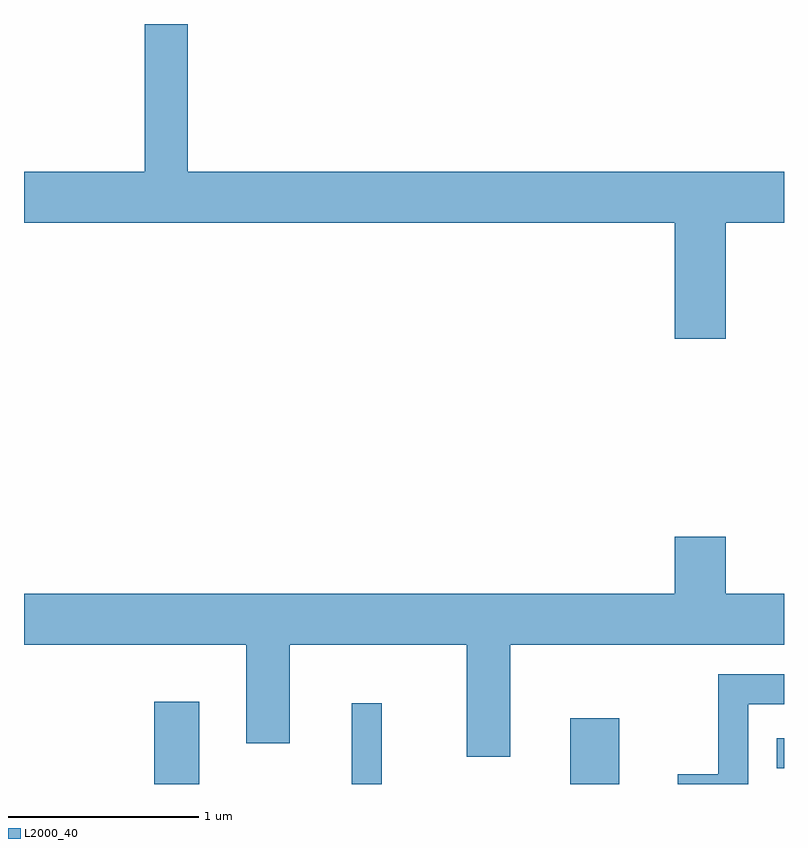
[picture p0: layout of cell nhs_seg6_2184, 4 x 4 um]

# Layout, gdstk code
import gdstk
lib = gdstk.Library(unit=1e-6, precision=1e-09)
def R(c, l, rs):  # rectangles x0, y0, x1, y1
    for r in rs: c.add(gdstk.rectangle(r[:2], r[2:], *l))
def P(c, l, *ps):  # polygons
    for p in ps: c.add(gdstk.Polygon(p, *l))
L2000_40 = (2000, 40)

nhs_seg6_2184 = lib.new_cell('nhs_seg6_2184')
R(nhs_seg6_2184, L2000_40, [(252.296,1578.162,252.534,1578.594), (253.336,1578.162,253.494,1578.588), (254.486,1578.162,254.744,1578.509), (255.573,1578.246,255.611,1578.404)])
P(nhs_seg6_2184, L2000_40, [(255.304,1581.116),(255.611,1581.116),(255.611,1581.384),(252.474,1581.384),(252.474,1582.162),(252.246,1582.162),(252.246,1581.384),(251.611,1581.384),(251.611,1581.116),(255.036,1581.116),(255.036,1580.506),(255.304,1580.506)],
  [(254.169,1578.896),(255.611,1578.896),(255.611,1579.164),(255.304,1579.164),(255.304,1579.464),(255.036,1579.464),(255.036,1579.164),(251.611,1579.164),(251.611,1578.896),(252.781,1578.896),(252.781,1578.376),(253.009,1578.376),(253.009,1578.896),(253.941,1578.896),(253.941,1578.306),(254.169,1578.306)],
  [(255.424,1578.581),(255.611,1578.581),(255.611,1578.739),(255.266,1578.739),(255.266,1578.214),(255.051,1578.214),(255.051,1578.162),(255.424,1578.162)])

lib.write_gds('nhs_seg6_2184.gds')
